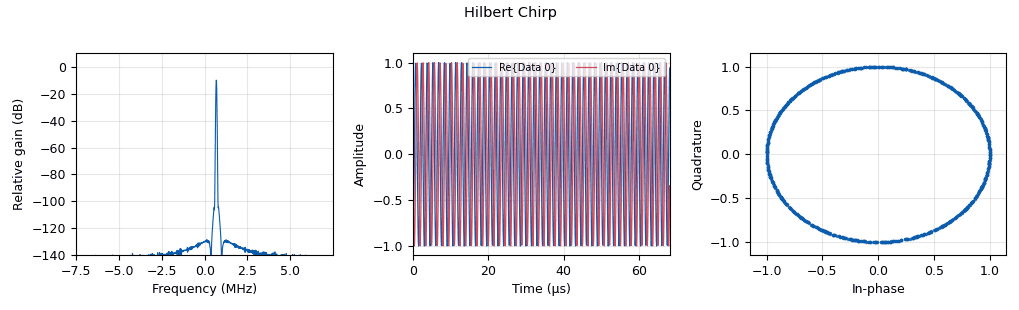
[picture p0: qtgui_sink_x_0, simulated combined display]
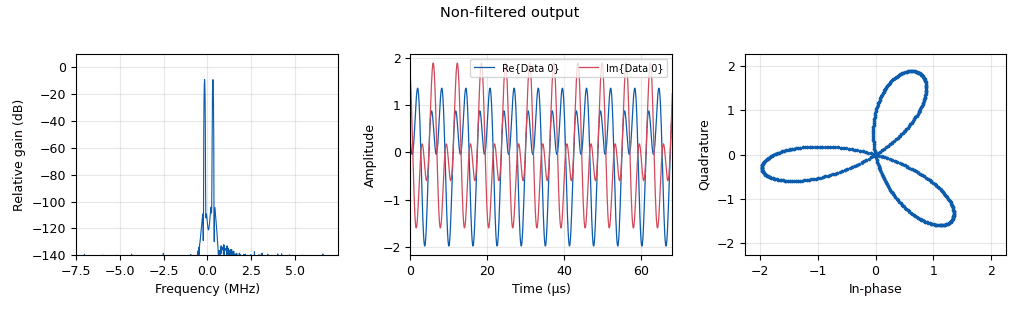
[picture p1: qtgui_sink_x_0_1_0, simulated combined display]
options:
  parameters:
    generate_options: qt_gui
    id: fmcw_sim
    output_language: python
    title: Not titled yet
  states: {}

blocks:
- name: chirp_freq
  id: variable_qtgui_range
  parameters:
    start: '0'
    step: '1'
    stop: '1000'
    value: '1000'
  states: {}
- name: samp_rate
  id: variable
  parameters:
    value: '15000000'
  states: {}
- name: analog_sig_source_x_0_0
  id: analog_sig_source_x
  parameters:
    amp: '1'
    freq: chirp_freq
    offset: '0'
    phase: '0'
    samp_rate: samp_rate
    type: float
    waveform: analog.GR_SAW_WAVE
  states: {}
- name: blocks_add_xx_0
  id: blocks_add_xx
  parameters:
    type: complex
  states: {}
- name: blocks_delay_0
  id: blocks_delay
  parameters:
    delay: int(0.2*(samp_rate/chirp_freq))
    type: complex
  states: {}
- name: blocks_delay_0_1
  id: blocks_delay
  parameters:
    delay: int(0.6*(samp_rate/chirp_freq))
    type: complex
  states: {}
- name: blocks_head_0
  id: blocks_head
  parameters:
    num_items: int(0.8*(samp_rate/chirp_freq))
    type: complex
  states: {}
- name: blocks_multiply_conjugate_cc_0
  id: blocks_multiply_conjugate_cc
  parameters: {}
  states: {}
- name: blocks_skiphead_0
  id: blocks_skiphead
  parameters:
    num_items: int(0.1*(samp_rate/chirp_freq))
    type: complex
  states: {}
- name: blocks_vco_c_0
  id: blocks_vco_c
  parameters:
    amplitude: '1'
    samp_rate: samp_rate
    sensitivity: '5000000'
  states: {}
- name: low_pass_filter_0
  id: low_pass_filter
  parameters:
    cutoff_freq: '250000'
    decim: '1'
    gain: '1'
    samp_rate: samp_rate
    type: fir_filter_fff
    width: samp_rate/64
    win: window.WIN_BLACKMAN
  states: {state: disabled}
- name: note_0
  id: note
  parameters: {}
  states: {}
- name: note_1
  id: note
  parameters:
    note: need to fix param dependancy on chip freq
  states: {}
- name: qtgui_sink_x_0
  id: qtgui_sink_x
  parameters:
    bw: samp_rate
    fc: '0'
    fftsize: '1024'
    name: '"Hilbert Chirp"'
    rate: '100000'
    type: complex
  states: {}
- name: qtgui_sink_x_0_1_0
  id: qtgui_sink_x
  parameters:
    bw: samp_rate
    fc: '0'
    fftsize: '1024'
    name: '"Non-filtered output"'
    rate: '1000'
    type: complex
  states: {}
- name: qtgui_sink_x_0_1_0_0
  id: qtgui_sink_x
  parameters:
    bw: samp_rate
    fc: '0'
    fftsize: '1024'
    name: '"Filtered Output"'
    rate: '1000'
    type: float
  states: {state: disabled}

connections:
- [analog_sig_source_x_0_0, '0', blocks_vco_c_0, '0']
- [blocks_add_xx_0, '0', blocks_multiply_conjugate_cc_0, '0']
- [blocks_delay_0, '0', blocks_add_xx_0, '0']
- [blocks_delay_0_1, '0', blocks_add_xx_0, '1']
- [blocks_head_0, '0', qtgui_sink_x_0_1_0, '0']
- [blocks_multiply_conjugate_cc_0, '0', blocks_skiphead_0, '0']
- [blocks_skiphead_0, '0', blocks_head_0, '0']
- [blocks_vco_c_0, '0', blocks_delay_0, '0']
- [blocks_vco_c_0, '0', blocks_delay_0_1, '0']
- [blocks_vco_c_0, '0', blocks_multiply_conjugate_cc_0, '1']
- [blocks_vco_c_0, '0', qtgui_sink_x_0, '0']
- [low_pass_filter_0, '0', qtgui_sink_x_0_1_0_0, '0']

metadata:
  file_format: 1
  grc_version: 3.9.8.0-rc1
